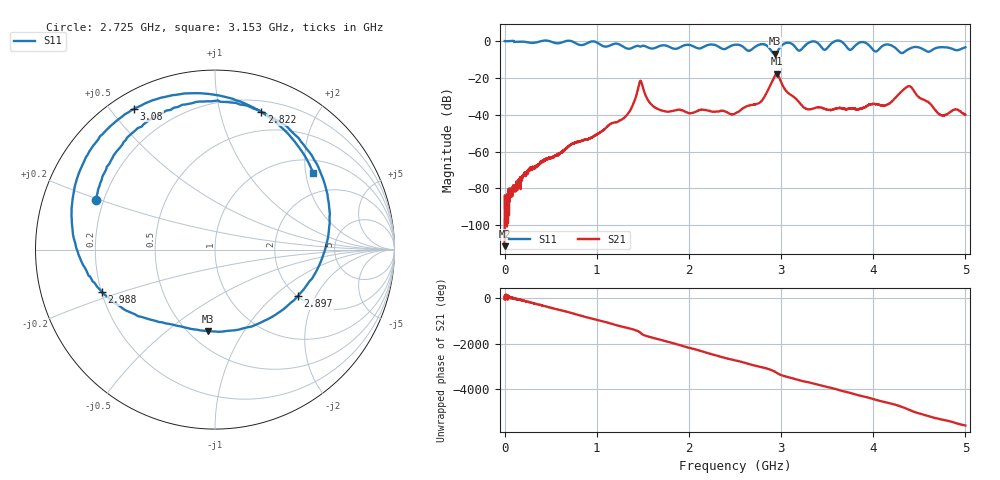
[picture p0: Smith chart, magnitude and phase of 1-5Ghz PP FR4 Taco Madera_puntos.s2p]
! NanoVNA-App
! Date: 2025-10-30 21:10:24
! Start: 10kHz Stop: 5GHz Points: 3201
! S-Parameter data: F S11 S21 S12 S22
# Hz S RI R 50
!  Frequency  S11_Real  S11_Imag  S21_Real  S21_Imag  S12_Real  S12_Imag  S22_Real  S22_Imag
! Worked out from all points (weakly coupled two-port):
!   3201 points, 10 kHz to 5 GHz, reference 50 ohm
!   highest |S21| = -17.77 dB at 2.952 GHz (marker M1); lowest = -111.4 dB at 10 kHz (marker M2)
!   lowest |S11| = -6.8 dB at 2.933 GHz (marker M3), VSWR 2.68, Z = 30.7 - j35.2 ohm
!   |S11| at or under -10 dB: nowhere
!   S12 and S22 are empty: the file has one direction only
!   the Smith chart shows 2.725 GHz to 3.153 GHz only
!   S11 on the Smith chart (normalised r, x): 2.725 GHz: 0.17, +0.20; 2.822 GHz: 0.30, +1.35; 2.897 GHz: 2.02, -1.45; 2.988 GHz: 0.20, -0.18; 3.08 GHz: 0.07, +0.58; 3.153 GHz: 1.35, +2.21
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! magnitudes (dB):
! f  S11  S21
! 10 kHz  0.0  -111.4
! 834.4 MHz  -2.1  -54.0
! 1.311 GHz  -3.7  -41.1
! 1.473 GHz  -3.0  -21.6
! 1.667 GHz  -3.0  -37.0
! 2.5 GHz  -2.0  -39.4
! 2.725 GHz  -2.9  -34.3
! 2.822 GHz  -1.8  -30.0
! 2.897 GHz  -5.5  -22.5
! 2.933 GHz  -6.8  -18.8
! 2.952 GHz  -6.3  -17.8
! 2.988 GHz  -3.5  -20.7
! 3.08 GHz  -0.9  -28.3
! 3.153 GHz  -3.2  -30.9
! 3.334 GHz  -0.2  -36.9
! 3.472 GHz  -4.7  -36.8
! 3.611 GHz  0.3  -36.5
! 3.748 GHz  -4.7  -36.6
! 4.167 GHz  -1.9  -34.1
! 4.391 GHz  -4.2  -24.4
! 4.725 GHz  -3.3  -39.9
! 5 GHz  -3.3  -40.0
